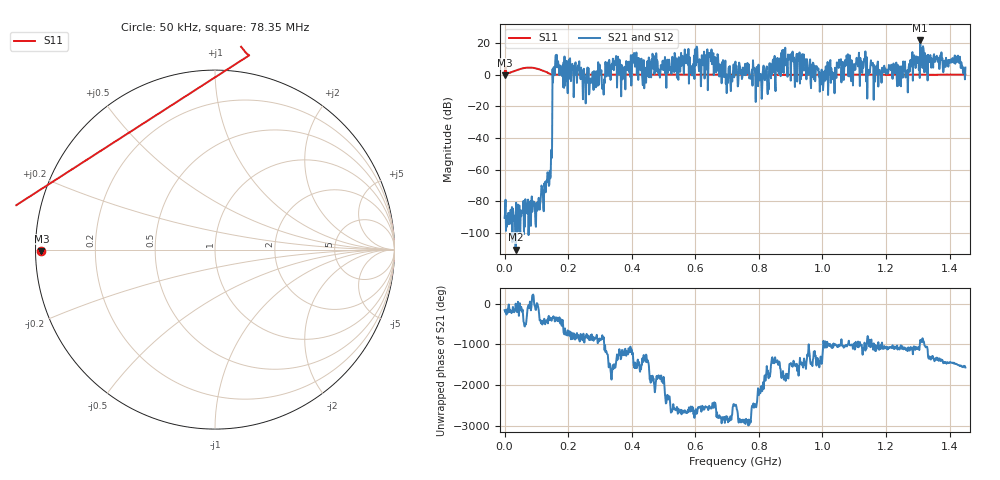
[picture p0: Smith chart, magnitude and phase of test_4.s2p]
! Created with skrf 1.11.0 (http://scikit-rf.org).
# Hz S RI R 50.0
!freq ReS11 ImS11 ReS21 ImS21 ReS12 ImS12 ReS22 ImS22
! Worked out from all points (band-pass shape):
!   1001 points, 50 kHz to 1.45 GHz, reference 50 ohm
!   highest |S21| = 21.66 dB at 1.308 GHz (marker M1); lowest = -110.5 dB at 34.85 MHz (marker M2)
!   |S21| within 3 dB of the highest: 1.307722 GHz to 1.30835 GHz (628.5 kHz wide, 0.0481 % of centre)
!   lowest |S11| = -0.3 dB at 50 kHz (marker M3), VSWR 59.90, Z = 0.835 - j0.201 ohm
!   |S11| at or under -10 dB: nowhere
!   |S22| runs from - to - dB; largest |S21 - S12| = 0
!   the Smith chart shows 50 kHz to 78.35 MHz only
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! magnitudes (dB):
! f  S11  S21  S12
! 50 kHz  -0.3  -90.4  -90.4
! 34.85 MHz  2.6  -110.5  -110.5
! 105.9 MHz  3.6  -80.8  -80.8
! 137.8 MHz  1.0  -66.8  -66.8
! 142.1 MHz  0.6  -60.7  -60.7
! 156.6 MHz  0.0  5.0  5.0
! 161 MHz  0.0  12.3  12.3
! 242.2 MHz  0.1  -1.4  -1.4
! 308.9 MHz  0.0  -7.1  -7.1
! 345.1 MHz  0.1  7.5  7.5
! 410.4 MHz  0.1  5.1  5.1
! 439.4 MHz  0.0  -8.6  -8.6
! 484.3 MHz  0.1  3.6  3.6
! 649.6 MHz  0.1  8.5  8.5
! 696 MHz  0.1  -5.7  -5.7
! 725 MHz  0.1  6.4  6.4
! 803.3 MHz  0.0  0.4  0.4
! 899 MHz  0.0  12.8  12.8
! 967.2 MHz  0.0  -1.7  -1.7
! 1.209 GHz  0.0  6.2  6.2
! 1.308 GHz  0.1  21.7  21.7
! 1.45 GHz  0.1  4.5  4.5
